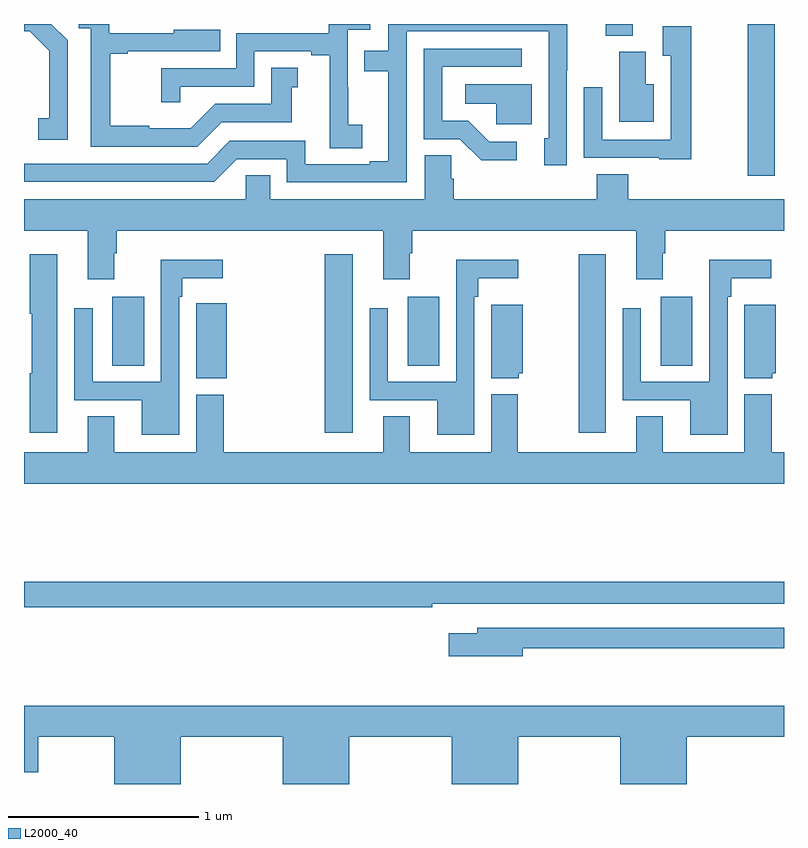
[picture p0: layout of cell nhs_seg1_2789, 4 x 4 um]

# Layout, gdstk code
import gdstk
lib = gdstk.Library(unit=1e-6, precision=1e-09)
def R(c, l, rs):  # rectangles x0, y0, x1, y1
    for r in rs: c.add(gdstk.rectangle(r[:2], r[2:], *l))
def P(c, l, *ps):  # polygons
    for p in ps: c.add(gdstk.Polygon(p, *l))
L2000_40 = (2000, 40)

nhs_seg1_2789 = lib.new_cell('nhs_seg1_2789')
R(nhs_seg1_2789, L2000_40, [(264.584,504.048,264.73,504.988), (265.921,504.048,266.062,504.988), (263.465,504.4,263.632,504.763), (265.019,504.4,265.186,504.763), (266.351,504.4,266.518,504.763), (266.809,505.401,266.95,506.199), (266.063,506.137,266.203,506.199)])
P(nhs_seg1_2789, L2000_40, [(264.781,505.668),(264.707,505.668),(264.707,505.865),(264.705,505.865),(264.705,506.169),(264.823,506.169),(264.823,506.199),(264.604,506.199),(264.604,506.151),(264.117,506.151),(264.117,505.965),(263.722,505.965),(263.722,505.788),(263.823,505.788),(263.823,505.869),(264.213,505.869),(264.213,506.055),(264.512,506.055),(264.512,506.035),(264.608,506.035),(264.608,505.657),(264.61,505.657),(264.61,505.546),(264.781,505.546)],
  [(265.014,506.16),(265.761,506.16),(265.761,505.599),(265.739,505.599),(265.739,505.455),(265.857,505.455),(265.857,505.954),(265.859,505.954),(265.859,506.199),(264.918,506.199),(264.918,506.058),(264.79,506.058),(264.79,505.95),(264.917,505.95),(264.917,505.476),(264.821,505.476),(264.821,505.461),(264.48,505.461),(264.48,505.584),(264.084,505.584),(263.964,505.464),(263,505.464),(263,505.368),(264,505.368),(264.12,505.488),(264.384,505.488),(264.384,505.365),(265.014,505.365)],
  [(264.042,505.683),(264.409,505.683),(264.409,505.867),(264.442,505.867),(264.442,505.97),(264.302,505.97),(264.302,505.779),(264.006,505.779),(263.878,505.651),(263.66,505.651),(263.66,505.663),(263.453,505.663),(263.453,506.043),(263.545,506.043),(263.545,506.055),(264.032,506.055),(264.032,506.17),(263.789,506.17),(263.789,506.151),(263.448,506.151),(263.448,506.199),(263.287,506.199),(263.287,506.177),(263.352,506.177),(263.352,505.554),(263.913,505.554)],
  [(263.229,506.114),(263.144,506.199),(263,506.199),(263,506.16),(263.031,506.16),(263.132,506.059),(263.132,505.703),(263.074,505.703),(263.074,505.59),(263.229,505.59)],
  [(266.512,506.188),(266.363,506.188),(266.363,506.032),(266.403,506.032),(266.403,505.59),(266.043,505.59),(266.043,505.867),(265.947,505.867),(265.947,505.494),(266.343,505.494),(266.343,505.487),(266.512,505.487)],
  [(265.594,505.578),(265.449,505.578),(265.338,505.689),(265.2,505.689),(265.2,505.974),(265.621,505.974),(265.621,506.07),(265.104,506.07),(265.104,505.593),(265.293,505.593),(265.406,505.481),(265.594,505.481)],
  [(266.314,505.882),(266.272,505.882),(266.272,506.052),(266.132,506.052),(266.132,505.685),(266.314,505.685)],
  [(265.672,505.882),(265.323,505.882),(265.323,505.778),(265.485,505.778),(265.485,505.671),(265.672,505.671)],
  [(263,505.112),(263.336,505.112),(263.336,504.855),(263.476,504.855),(263.476,504.992),(263.489,504.992),(263.489,505.112),(264.89,505.112),(264.89,504.855),(265.03,504.855),(265.03,504.992),(265.043,504.992),(265.043,505.112),(266.222,505.112),(266.222,504.855),(266.362,504.855),(266.362,504.992),(266.375,504.992),(266.375,505.112),(267,505.112),(267,505.276),(266.18,505.276),(266.18,505.409),(266.015,505.409),(266.015,505.276),(265.262,505.276),(265.262,505.385),(265.248,505.385),(265.248,505.508),(265.109,505.508),(265.109,505.276),(264.295,505.276),(264.295,505.403),(264.168,505.403),(264.168,505.276),(263,505.276)],
  [(263.176,504.988),(263.03,504.988),(263.03,504.675),(263.042,504.675),(263.042,504.36),(263.03,504.36),(263.03,504.048),(263.176,504.048)],
  [(266.703,504.764),(266.723,504.764),(266.723,504.86),(266.932,504.86),(266.932,504.958),(266.607,504.958),(266.607,504.315),(266.247,504.315),(266.247,504.703),(266.151,504.703),(266.151,504.219),(266.507,504.219),(266.507,504.038),(266.703,504.038)],
  [(263.817,504.764),(263.833,504.764),(263.833,504.86),(264.046,504.86),(264.046,504.958),(263.721,504.958),(263.721,504.315),(263.361,504.315),(263.361,504.703),(263.265,504.703),(263.265,504.219),(263.621,504.219),(263.621,504.038),(263.817,504.038)],
  [(265.371,504.764),(265.391,504.764),(265.391,504.86),(265.6,504.86),(265.6,504.958),(265.275,504.958),(265.275,504.315),(264.915,504.315),(264.915,504.703),(264.819,504.703),(264.819,504.219),(265.175,504.219),(265.175,504.038),(265.371,504.038)],
  [(264.068,504.73),(263.907,504.73),(263.907,504.617),(263.906,504.617),(263.906,504.334),(264.068,504.334)],
  [(266.937,504.36),(266.956,504.36),(266.956,504.721),(266.792,504.721),(266.792,504.335),(266.937,504.335)],
  [(265.605,504.36),(265.624,504.36),(265.624,504.721),(265.46,504.721),(265.46,504.335),(265.605,504.335)],
  [(267,503.944),(266.936,503.944),(266.936,504.25),(266.792,504.25),(266.792,503.944),(266.362,503.944),(266.362,504.134),(266.222,504.134),(266.222,503.944),(265.599,503.944),(265.599,504.25),(265.46,504.25),(265.46,503.944),(265.03,503.944),(265.03,504.134),(264.89,504.134),(264.89,503.944),(264.05,503.944),(264.05,504.249),(263.906,504.249),(263.906,503.944),(263.476,503.944),(263.476,504.134),(263.336,504.134),(263.336,503.944),(263,503.944),(263,503.78),(267,503.78)],
  [(265.148,503.148),(267,503.148),(267,503.264),(263,503.264),(263,503.128),(265.148,503.128)],
  [(265.624,502.914),(267,502.914),(267,503.022),(265.385,503.022),(265.385,502.993),(265.236,502.993),(265.236,502.871),(265.624,502.871)],
  [(263.824,502.448),(264.362,502.448),(264.362,502.199),(264.712,502.199),(264.712,502.448),(265.25,502.448),(265.25,502.199),(265.6,502.199),(265.6,502.448),(266.138,502.448),(266.138,502.199),(266.488,502.199),(266.488,502.448),(267,502.448),(267,502.612),(263,502.612),(263,502.26),(263.074,502.26),(263.074,502.448),(263.474,502.448),(263.474,502.199),(263.824,502.199)])

lib.write_gds('nhs_seg1_2789.gds')
